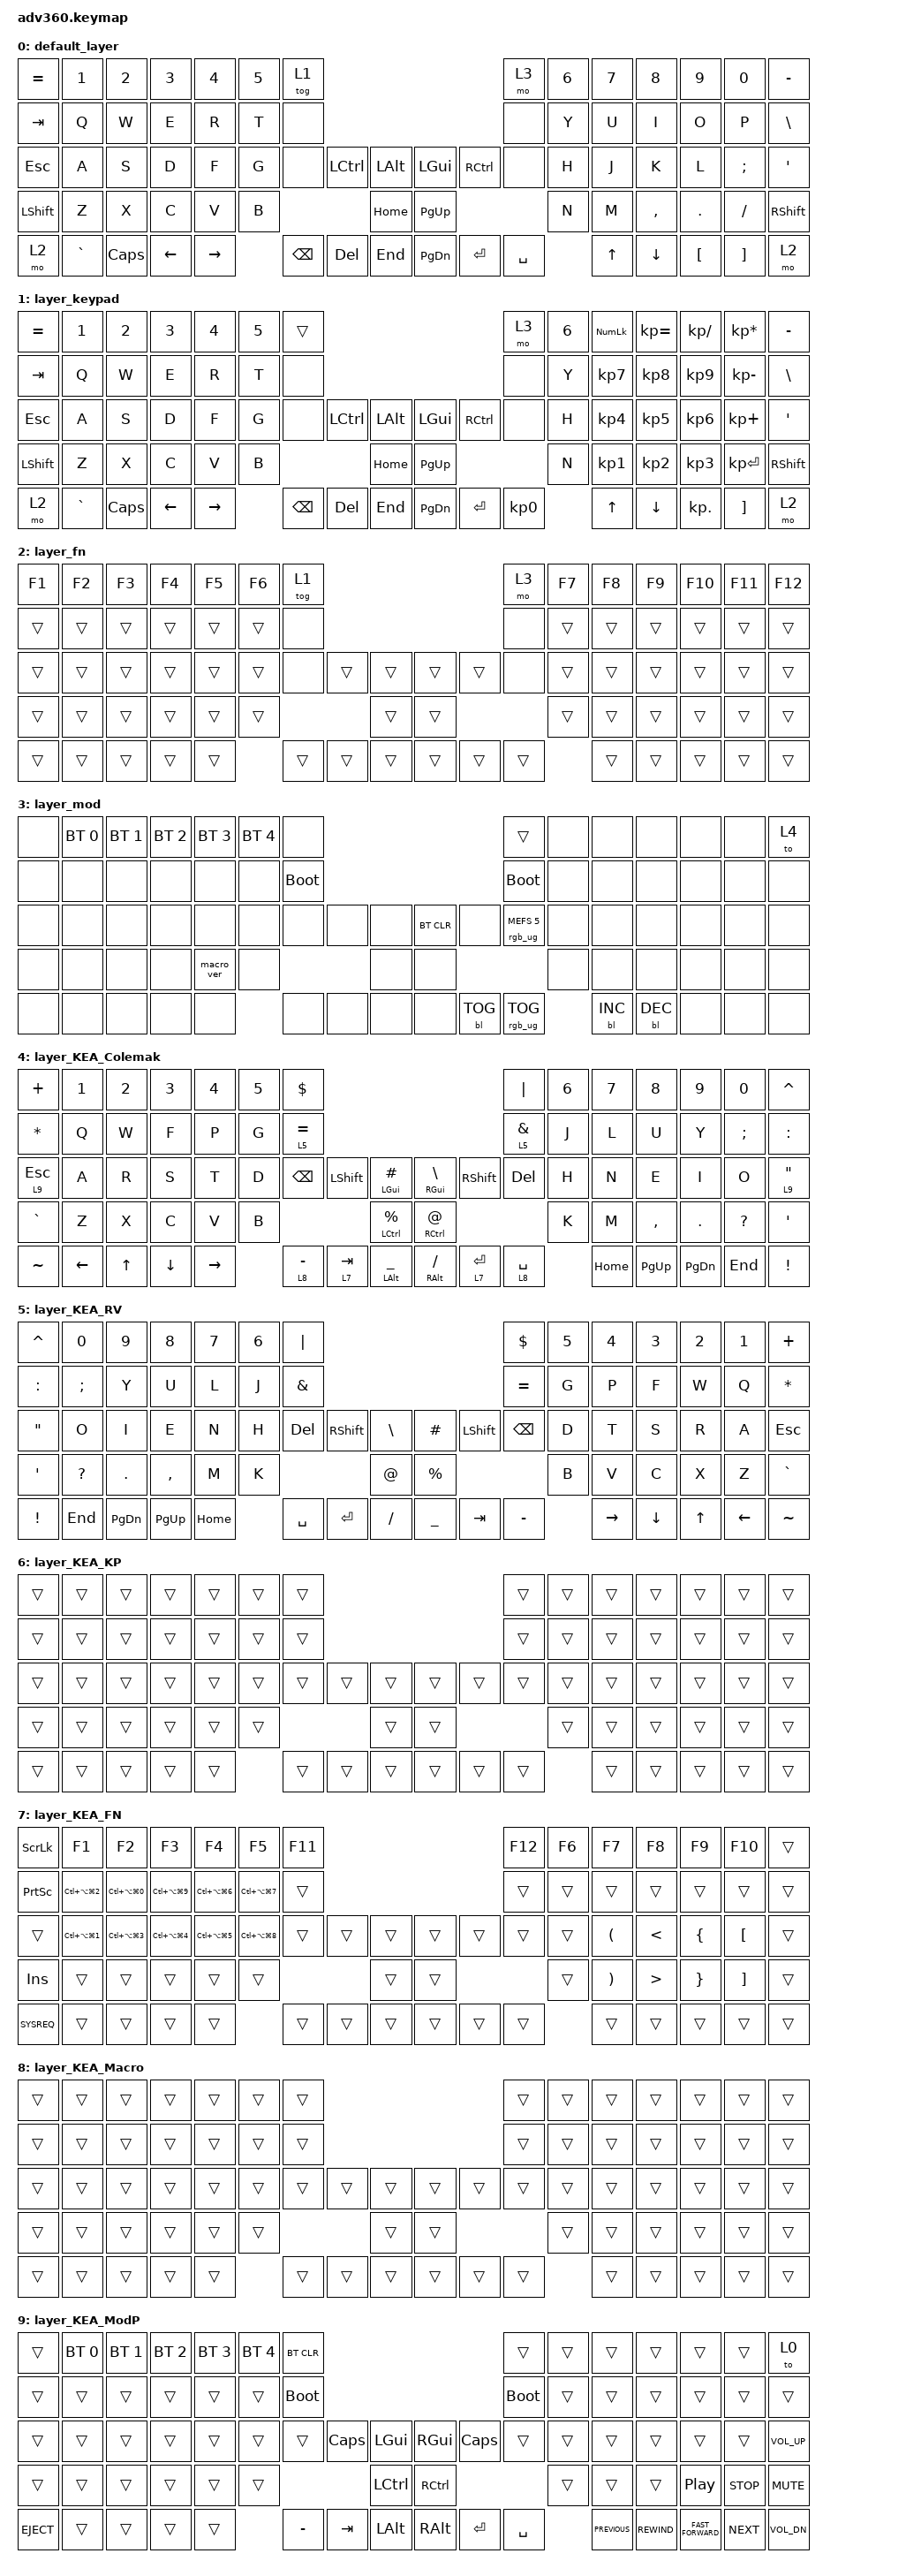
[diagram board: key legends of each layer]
/*
 * Copyright (c) 2020 The ZMK Contributors
 *
 * SPDX-License-Identifier: MIT
 */
/* THIS FILE WAS GENERATED!
 *
 * This file was generated automatically. You may or may not want to
 * edit it directly.
 */

#include <dt-bindings/zmk/stp.h>
#include <behaviors.dtsi>
#include <dt-bindings/zmk/backlight.h>
#include <dt-bindings/zmk/bt.h>
#include <dt-bindings/zmk/keys.h>
#include <dt-bindings/zmk/rgb.h>

/ {
    behaviors {
        #include "macros.dtsi"
      #include "version.dtsi"

        hm: homerow_mods {
            compatible = "zmk,behavior-hold-tap";
            label = "HOMEROW_MODS";
            #binding-cells = <2>;
            tapping-term-ms = <200>;
            quick_tap_ms = <175>;
            flavor = "tap-preferred";
            bindings = <&kp>, <&kp>;
        };
    };

    keymap {
        compatible = "zmk,keymap";

        default_layer {
            bindings = <
&kp EQUAL  &kp N1     &kp N2    &kp N3    &kp N4     &kp N5  &tog 1                                                   &mo 3      &kp N6  &kp N7  &kp N8     &kp N9    &kp N0    &kp MINUS
&kp TAB    &kp Q      &kp W     &kp E     &kp R      &kp T   &none                                                    &none      &kp Y   &kp U   &kp I      &kp O     &kp P     &kp BSLH
&kp ESC    &kp A      &kp S     &kp D     &kp F      &kp G   &none     &kp LCTRL  &kp LALT      &kp LGUI   &kp RCTRL  &none      &kp H   &kp J   &kp K      &kp L     &kp SEMI  &kp SQT
&kp LSHFT  &kp Z      &kp X     &kp C     &kp V      &kp B                        &kp HOME      &kp PG_UP                        &kp N   &kp M   &kp COMMA  &kp DOT   &kp FSLH  &kp RSHFT
&mo 2      &kp GRAVE  &kp CAPS  &kp LEFT  &kp RIGHT          &kp BSPC  &kp DEL    &kp END       &kp PG_DN  &kp ENTER  &kp SPACE          &kp UP  &kp DOWN   &kp LBKT  &kp RBKT  &mo 2
            >;
        };

        layer_keypad {
            bindings = <
&kp EQUAL  &kp N1     &kp N2    &kp N3    &kp N4     &kp N5  &trans                                                   &mo 3      &kp N6  &kp KP_NUM  &kp KP_EQUAL  &kp KP_DIVIDE  &kp KP_MULTIPLY  &kp MINUS
&kp TAB    &kp Q      &kp W     &kp E     &kp R      &kp T   &none                                                    &none      &kp Y   &kp KP_N7   &kp KP_N8     &kp KP_N9      &kp KP_MINUS     &kp BSLH
&kp ESC    &kp A      &kp S     &kp D     &kp F      &kp G   &none     &kp LCTRL  &kp LALT      &kp LGUI   &kp RCTRL  &none      &kp H   &kp KP_N4   &kp KP_N5     &kp KP_N6      &kp KP_PLUS      &kp SQT
&kp LSHFT  &kp Z      &kp X     &kp C     &kp V      &kp B                        &kp HOME      &kp PG_UP                        &kp N   &kp KP_N1   &kp KP_N2     &kp KP_N3      &kp KP_ENTER     &kp RSHFT
&mo 2      &kp GRAVE  &kp CAPS  &kp LEFT  &kp RIGHT          &kp BSPC  &kp DEL    &kp END       &kp PG_DN  &kp ENTER  &kp KP_N0          &kp UP      &kp DOWN      &kp KP_DOT     &kp RBKT         &mo 2
            >;
        };

        layer_fn {
            bindings = <
&kp F1  &kp F2  &kp F3  &kp F4  &kp F5  &kp F6  &tog 1                                      &mo 3   &kp F7  &kp F8  &kp F9  &kp F10  &kp F11  &kp F12
&trans  &trans  &trans  &trans  &trans  &trans  &none                                       &none   &trans  &trans  &trans  &trans   &trans   &trans
&trans  &trans  &trans  &trans  &trans  &trans  &none   &trans  &trans      &trans  &trans  &none   &trans  &trans  &trans  &trans   &trans   &trans
&trans  &trans  &trans  &trans  &trans  &trans                  &trans      &trans                  &trans  &trans  &trans  &trans   &trans   &trans
&trans  &trans  &trans  &trans  &trans          &trans  &trans  &trans      &trans  &trans  &trans          &trans  &trans  &trans   &trans   &trans
            >;
        };

        layer_mod {
            bindings = <
&none  &bt BT_SEL 0  &bt BT_SEL 1  &bt BT_SEL 2  &bt BT_SEL 3  &bt BT_SEL 4  &none                                                  &trans                  &none  &none       &none       &none  &none  &to 4
&none  &none         &none         &none         &none         &none         &bootloader                                            &bootloader             &none  &none       &none       &none  &none  &none
&none  &none         &none         &none         &none         &none         &none        &none  &none      &bt BT_CLR  &none       &rgb_ug RGB_MEFS_CMD 5  &none  &none       &none       &none  &none  &none
&none  &none         &none         &none         &macro_ver    &none                             &none      &none                                           &none  &none       &none       &none  &none  &none
&none  &none         &none         &none         &none                       &none        &none  &none      &none       &bl BL_TOG  &rgb_ug RGB_TOG                &bl BL_INC  &bl BL_DEC  &none  &none  &none
            >;
        };

        layer_KEA_Colemak {
            bindings = <
&kp PLUS      &kp NUMBER_1    &kp NUMBER_2  &kp NUMBER_3    &kp NUMBER_4     &kp NUMBER_5  &kp DOLLAR                                                                                               &kp PIPE         &kp NUMBER_6  &kp NUMBER_7  &kp NUMBER_8  &kp NUMBER_9   &kp NUMBER_0   &kp CARET
&kp ASTERISK  &kp Q           &kp W         &kp F           &kp P            &kp G         &lt 5 EQUAL                                                                                              &lt 5 AMPERSAND  &kp J         &kp L         &kp U         &kp Y          &kp SEMICOLON  &kp COLON
&lt 9 ESCAPE  &kp A           &kp R         &kp S           &kp T            &kp D         &kp BACKSPACE  &kp LEFT_SHIFT  &mt LEFT_GUI HASH             &mt RIGHT_GUI BACKSLASH    &kp RIGHT_SHIFT  &kp DELETE       &kp H         &kp N         &kp E         &kp I          &kp O          &lt 9 DOUBLE_QUOTES
&kp GRAVE     &kp Z           &kp X         &kp C           &kp V            &kp B                                        &mt LEFT_CONTROL PERCENT      &mt RIGHT_CONTROL AT_SIGN                                    &kp K         &kp M         &kp COMMA     &kp PERIOD     &kp QUESTION   &kp APOSTROPHE
&kp TILDE     &kp LEFT_ARROW  &kp UP_ARROW  &kp DOWN_ARROW  &kp RIGHT_ARROW                &lt 8 MINUS    &lt 7 TAB       &mt LALT UNDERSCORE           &mt RIGHT_ALT SLASH        &lt 7 ENTER      &lt 8 SPACE                    &kp HOME      &kp PAGE_UP   &kp PAGE_DOWN  &kp END        &kp EXCLAMATION
            >;
        };

        layer_KEA_RV {
            bindings = <
&kp CARET          &kp NUMBER_0   &kp NUMBER_9   &kp NUMBER_8  &kp NUMBER_7  &kp NUMBER_6  &kp PIPE                                                                           &kp DOLLAR     &kp NUMBER_5  &kp NUMBER_4     &kp NUMBER_3    &kp NUMBER_2  &kp NUMBER_1    &kp PLUS
&kp COLON          &kp SEMICOLON  &kp Y          &kp U         &kp L         &kp J         &kp AMPERSAND                                                                      &kp EQUAL      &kp G         &kp P            &kp F           &kp W         &kp Q           &kp ASTERISK
&kp DOUBLE_QUOTES  &kp O          &kp I          &kp E         &kp N         &kp H         &kp DELETE     &kp RIGHT_SHIFT  &kp BACKSLASH      &kp HASH        &kp LEFT_SHIFT  &kp BACKSPACE  &kp D         &kp T            &kp S           &kp R         &kp A           &kp ESCAPE
&kp APOSTROPHE     &kp QUESTION   &kp PERIOD     &kp COMMA     &kp M         &kp K                                         &kp AT_SIGN        &kp PERCENT                                    &kp B         &kp V            &kp C           &kp X         &kp Z           &kp GRAVE
&kp EXCLAMATION    &kp END        &kp PAGE_DOWN  &kp PAGE_UP   &kp HOME                    &kp SPACE      &kp ENTER        &kp SLASH          &kp UNDERSCORE  &kp TAB         &kp MINUS                    &kp RIGHT_ARROW  &kp DOWN_ARROW  &kp UP_ARROW  &kp LEFT_ARROW  &kp TILDE
            >;
        };

        layer_KEA_KP {
            bindings = <
&trans  &trans  &trans  &trans  &trans  &trans  &trans                                      &trans  &trans  &trans  &trans  &trans  &trans  &trans
&trans  &trans  &trans  &trans  &trans  &trans  &trans                                      &trans  &trans  &trans  &trans  &trans  &trans  &trans
&trans  &trans  &trans  &trans  &trans  &trans  &trans  &trans  &trans      &trans  &trans  &trans  &trans  &trans  &trans  &trans  &trans  &trans
&trans  &trans  &trans  &trans  &trans  &trans                  &trans      &trans                  &trans  &trans  &trans  &trans  &trans  &trans
&trans  &trans  &trans  &trans  &trans          &trans  &trans  &trans      &trans  &trans  &trans          &trans  &trans  &trans  &trans  &trans
            >;
        };

        layer_KEA_FN {
            bindings = <
&kp SCROLLLOCK   &kp F1                    &kp F2                    &kp F3                    &kp F4                    &kp F5                    &kp F11                                      &kp F12  &kp F6  &kp F7                 &kp F8            &kp F9           &kp F10            &trans
&kp PRINTSCREEN  &kp LC(LA(LG(NUMBER_2)))  &kp LC(LA(LG(NUMBER_0)))  &kp LC(LA(LG(NUMBER_9)))  &kp LC(LA(LG(NUMBER_6)))  &kp LC(LA(LG(NUMBER_7)))  &trans                                       &trans   &trans  &trans                 &trans            &trans           &trans             &trans
&trans           &kp LC(LA(LG(NUMBER_1)))  &kp LC(LA(LG(NUMBER_3)))  &kp LC(LA(LG(NUMBER_4)))  &kp LC(LA(LG(NUMBER_5)))  &kp LC(LA(LG(NUMBER_8)))  &trans   &trans  &trans      &trans  &trans  &trans   &trans  &kp LEFT_PARENTHESIS   &kp LESS_THAN     &kp LEFT_BRACE   &kp LEFT_BRACKET   &trans
&kp INSERT       &trans                    &trans                    &trans                    &trans                    &trans                                     &trans      &trans                   &trans  &kp RIGHT_PARENTHESIS  &kp GREATER_THAN  &kp RIGHT_BRACE  &kp RIGHT_BRACKET  &trans
&kp SYSREQ       &trans                    &trans                    &trans                    &trans                                              &trans   &trans  &trans      &trans  &trans  &trans           &trans                 &trans            &trans           &trans             &trans
            >;
        };

        layer_KEA_Macro {
            bindings = <
&trans  &trans  &trans  &trans  &trans  &trans  &trans                                      &trans  &trans  &trans  &trans  &trans  &trans  &trans
&trans  &trans  &trans  &trans  &trans  &trans  &trans                                      &trans  &trans  &trans  &trans  &trans  &trans  &trans
&trans  &trans  &trans  &trans  &trans  &trans  &trans  &trans  &trans      &trans  &trans  &trans  &trans  &trans  &trans  &trans  &trans  &trans
&trans  &trans  &trans  &trans  &trans  &trans                  &trans      &trans                  &trans  &trans  &trans  &trans  &trans  &trans
&trans  &trans  &trans  &trans  &trans          &trans  &trans  &trans      &trans  &trans  &trans          &trans  &trans  &trans  &trans  &trans
            >;
        };

        layer_KEA_ModP {
            bindings = <
&trans       &bt BT_SEL 0  &bt BT_SEL 1  &bt BT_SEL 2  &bt BT_SEL 3  &bt BT_SEL 4  &bt BT_CLR                                                                        &trans       &trans  &trans          &trans        &trans              &trans      &to 0
&trans       &trans        &trans        &trans        &trans        &trans        &bootloader                                                                       &bootloader  &trans  &trans          &trans        &trans              &trans      &trans
&trans       &trans        &trans        &trans        &trans        &trans        &trans       &kp CAPSLOCK  &kp LEFT_GUI          &kp RIGHT_GUI      &kp CAPSLOCK  &trans       &trans  &trans          &trans        &trans              &trans      &kp C_VOL_UP
&trans       &trans        &trans        &trans        &trans        &trans                                   &kp LEFT_CONTROL      &kp RIGHT_CONTROL                             &trans  &trans          &trans        &kp C_PLAY_PAUSE    &kp C_STOP  &kp C_MUTE
&kp C_EJECT  &trans        &trans        &trans        &trans                      &kp MINUS    &kp TAB       &kp LEFT_ALT          &kp RIGHT_ALT      &kp ENTER     &kp SPACE            &kp C_PREVIOUS  &kp C_REWIND  &kp C_FAST_FORWARD  &kp C_NEXT  &kp C_VOL_DN
            >;
        };
    };
};
